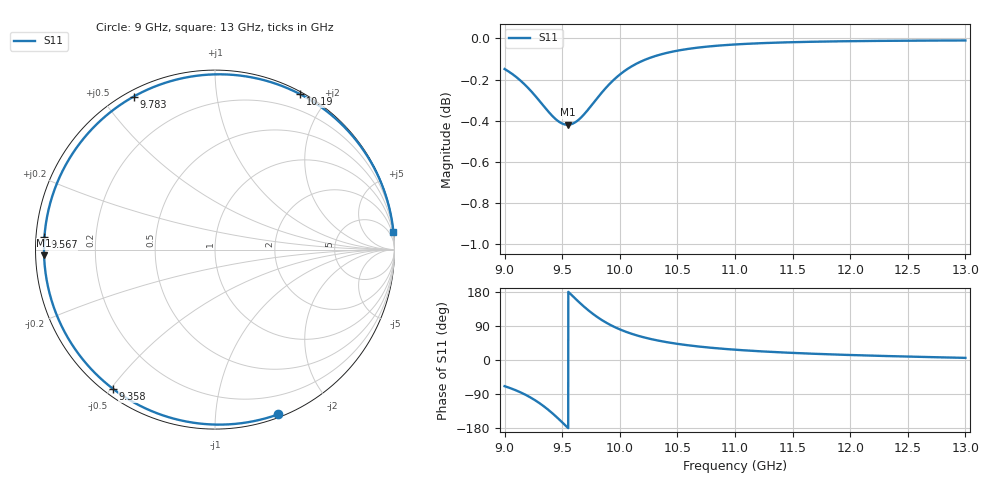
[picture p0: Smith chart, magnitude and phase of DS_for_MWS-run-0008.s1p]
! TOUCHSTONE file generated by CST DESIGN STUDIO
! Date and time: Tue Feb  4 18:26:30 2025
! Project name: C:\Work\MatlabApps\UnitCellOptimizationMatlab\CST\unitcell.cst
! Tree item: Tasks\Sweep1\SPara1\S-Parameters
! Header version: 2024
! Port assignment regex: !\s*Touchstone port\s*([0-9]+)\s*=\s*(CST MWS port|CST DES external port|CST DES block port)\s*(.+)\s* \(\"(.*)\"\)(\s*mode\s*([0-9]+))?.*
! Touchstone port assignment:
! Touchstone port 1 = CST DES external port 1 ("")
# GHz S MA R 50
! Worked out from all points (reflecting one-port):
!   4001 points, 9 GHz to 13 GHz, reference 50 ohm
!   lowest |S11| = -0.4 dB at 9.546 GHz (marker M1), VSWR 41.42, Z = 1.21 - j0.845 ohm
!   phase of S11 starts at -69 deg and turns -285 deg over the sweep
!   S11 on the Smith chart (normalised r, x): 9 GHz: 0.03, -1.45; 9.358 GHz: 0.02, -0.51; 9.567 GHz: 0.02, +0.04; 9.783 GHz: 0.02, +0.60; 10.19 GHz: 0.02, +1.69; 13 GHz: 0, +20
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9  0.9831 -69.1
9.103  0.9786 -80.7
9.213  0.9721 -96.9
9.289  0.9667 -111.0
9.358  0.9615 -126.3
9.426  0.9568 -143.6
9.465  0.9548 -154.4
9.5  0.9535 -164.4
9.546  0.9529 -178.1
9.567  0.953 175.7
9.621  0.9545 159.8
9.682  0.9579 142.7
9.732  0.9615 129.9
9.783  0.9655 118.0
9.83  0.9691 108.2
9.88  0.9728 98.9
9.936  0.9764 89.8
10  0.98 80.8
10.091  0.9841 70.4
10.19  0.9874 61.3
10.332  0.9907 51.3
10.5  0.9932 42.6
10.721  0.9952 34.4
11  0.9967 27.2
11.5  0.9979 18.7
12  0.9985 13.2
12.5  0.9988 9.0
13  0.9989 5.6
